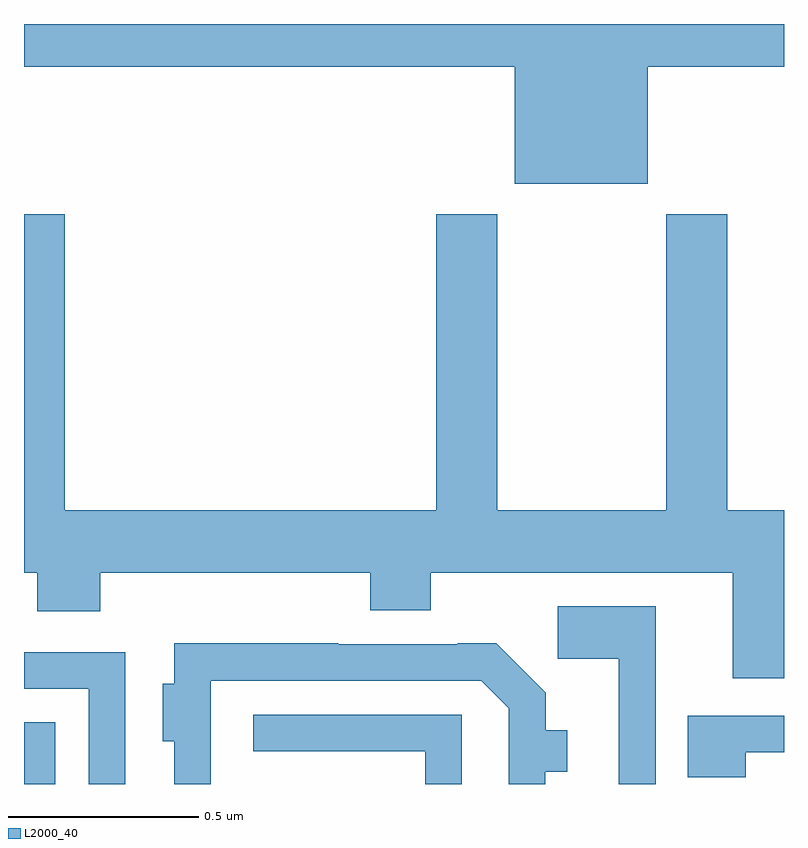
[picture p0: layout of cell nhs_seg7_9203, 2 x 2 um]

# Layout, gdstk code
import gdstk
lib = gdstk.Library(unit=1e-6, precision=1e-09)
def R(c, l, rs):  # rectangles x0, y0, x1, y1
    for r in rs: c.add(gdstk.rectangle(r[:2], r[2:], *l))
def P(c, l, *ps):  # polygons
    for p in ps: c.add(gdstk.Polygon(p, *l))
L2000_40 = (2000, 40)

nhs_seg7_9203 = lib.new_cell('nhs_seg7_9203')
R(nhs_seg7_9203, L2000_40, [(234,1060,234.082,1060.162)])
P(nhs_seg7_9203, L2000_40, [(235.642,1061.888),(236,1061.888),(236,1062),(234,1062),(234,1061.888),(235.292,1061.888),(235.292,1061.579),(235.642,1061.579)],
  [(236,1060.72),(235.85,1060.72),(235.85,1061.5),(235.69,1061.5),(235.69,1060.72),(235.245,1060.72),(235.245,1061.5),(235.085,1061.5),(235.085,1060.72),(234.107,1060.72),(234.107,1061.5),(234,1061.5),(234,1060.556),(234.035,1060.556),(234.035,1060.454),(234.2,1060.454),(234.2,1060.556),(234.911,1060.556),(234.911,1060.457),(235.071,1060.457),(235.071,1060.556),(235.865,1060.556),(235.865,1060.278),(236,1060.278)],
  [(235.662,1060.468),(235.404,1060.468),(235.404,1060.329),(235.565,1060.329),(235.565,1060),(235.662,1060)],
  [(234.492,1060.272),(235.203,1060.272),(235.275,1060.2),(235.275,1060),(235.372,1060),(235.372,1060.032),(235.429,1060.032),(235.429,1060.142),(235.373,1060.142),(235.373,1060.24),(235.243,1060.37),(235.142,1060.37),(235.142,1060.368),(234.827,1060.368),(234.827,1060.37),(234.396,1060.37),(234.396,1060.264),(234.365,1060.264),(234.365,1060.112),(234.396,1060.112),(234.396,1060),(234.492,1060)],
  [(234.267,1060.347),(234,1060.347),(234,1060.251),(234.171,1060.251),(234.171,1060),(234.267,1060)],
  [(235.152,1060.182),(234.603,1060.182),(234.603,1060.086),(235.056,1060.086),(235.056,1060),(235.152,1060)],
  [(235.899,1060.083),(236,1060.083),(236,1060.179),(235.747,1060.179),(235.747,1060.018),(235.899,1060.018)])

lib.write_gds('nhs_seg7_9203.gds')
